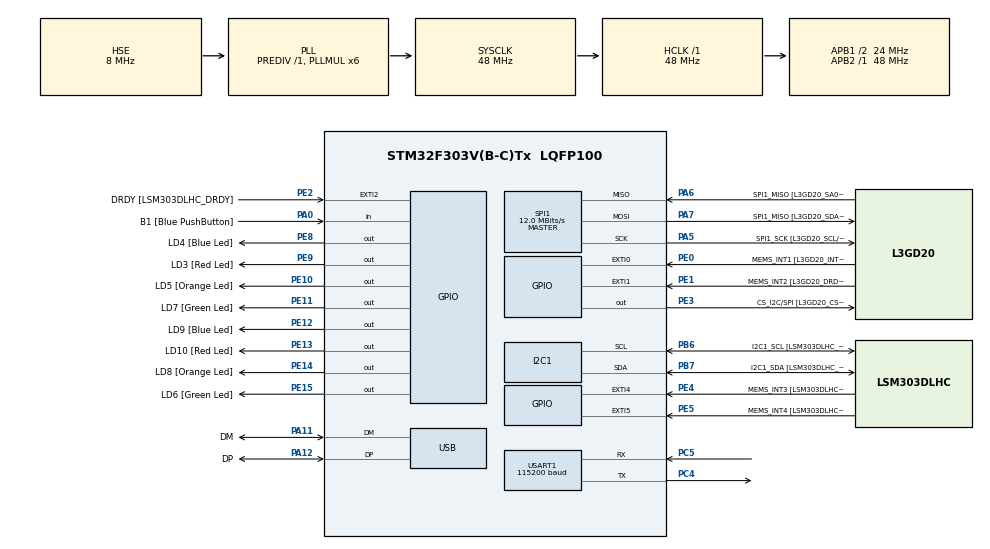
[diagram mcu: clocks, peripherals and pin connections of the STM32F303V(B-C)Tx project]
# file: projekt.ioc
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ADC1.Channel-0\#ChannelRegularConversion=ADC_CHANNEL_TEMPSENSOR
ADC1.NbrOfConversionFlag=1
ADC1.Offset-0\#ChannelRegularConversion=0
ADC1.OffsetNumber-0\#ChannelRegularConversion=ADC_OFFSET_NONE
ADC1.Rank-0\#ChannelRegularConversion=1
ADC1.SamplingTime-0\#ChannelRegularConversion=ADC_SAMPLETIME_601CYCLES_5
ADC1.SamplingTimeOPAMP-0\#ChannelRegularConversion=ADC_SAMPLETIME_19CYCLES_5
ADC1.master=1
I2C1.Timing=0x2000090E
I2C1.Timing-I2C=0x2000090E
Mcu.Family=STM32F3
Mcu.Name=STM32F303V(B-C)Tx
Mcu.Package=LQFP100
NVIC.PriorityGroup=NVIC_PRIORITYGROUP_0
PA0.GPIO_Label=B1 [Blue PushButton]
PA0.Signal=GPIO_Input
PA11.GPIO_Label=DM
PA11.Mode=Device
PA11.Signal=USB_DM
PA12.GPIO_Label=DP
PA12.Mode=Device
PA12.Signal=USB_DP
PA13.GPIO_Label=SWDIO
PA13.Mode=Serial_Wire
PA13.Signal=SYS_JTMS-SWDIO
PA14.GPIO_Label=SWCLK
PA14.Mode=Serial_Wire
PA14.Signal=SYS_JTCK-SWCLK
PA5.GPIO_Label=SPI1_SCK [L3GD20_SCL/SPC]
PA5.Mode=Full_Duplex_Master
PA5.Signal=SPI1_SCK
PA6.GPIO_Label=SPI1_MISO [L3GD20_SA0/SDO]
PA6.Mode=Full_Duplex_Master
PA6.Signal=SPI1_MISO
PA7.GPIO_Label=SPI1_MISO [L3GD20_SDA/SDI/SDO]
PA7.Mode=Full_Duplex_Master
PA7.Signal=SPI1_MOSI
PB3.GPIO_Label=SWO
PB3.Signal=SYS_JTDO-TRACESWO
PB6.GPIO_Label=I2C1_SCL [LSM303DLHC_SCL]
PB6.GPIO_Pu=GPIO_PULLUP
PB6.Mode=I2C
PB6.Signal=I2C1_SCL
PB7.GPIO_Label=I2C1_SDA [LSM303DLHC_SDA]
PB7.GPIO_Pu=GPIO_PULLUP
PB7.Mode=I2C
PB7.Signal=I2C1_SDA
PC14-OSC32_IN.GPIO_Label=OSC32_IN
PC14-OSC32_IN.Signal=RCC_OSC32_IN
PC15-OSC32_OUT.GPIO_Label=OSC32_OUT
PC15-OSC32_OUT.Signal=RCC_OSC32_OUT
PC4.Mode=Asynchronous
PC4.Signal=USART1_TX
PC5.Mode=Asynchronous
PC5.Signal=USART1_RX
PE0.GPIO_Label=MEMS_INT1 [L3GD20_INT1]
PE0.GPIO_ModeDefaultEXTI=GPIO_MODE_EVT_RISING
PE0.Signal=GPXTI0
PE1.GPIO_Label=MEMS_INT2 [L3GD20_DRDY/INT2]
PE1.GPIO_ModeDefaultEXTI=GPIO_MODE_EVT_RISING
PE1.Signal=GPXTI1
PE10.GPIO_Label=LD5 [Orange Led]
PE10.Signal=GPIO_Output
PE11.GPIO_Label=LD7 [Green Led]
PE11.Signal=GPIO_Output
PE12.GPIO_Label=LD9 [Blue Led]
PE12.Signal=GPIO_Output
PE13.GPIO_Label=LD10 [Red Led]
PE13.Signal=GPIO_Output
PE14.GPIO_Label=LD8 [Orange Led]
PE14.Signal=GPIO_Output
PE15.GPIO_Label=LD6 [Green Led]
PE15.Signal=GPIO_Output
PE2.GPIO_Label=DRDY [LSM303DLHC_DRDY]
PE2.GPIO_ModeDefaultEXTI=GPIO_MODE_EVT_RISING
PE2.Signal=GPXTI2
PE3.GPIO_Label=CS_I2C/SPI [L3GD20_CS_I2C/SPI]
PE3.Signal=GPIO_Output
PE4.GPIO_Label=MEMS_INT3 [LSM303DLHC_INT1]
PE4.GPIO_ModeDefaultEXTI=GPIO_MODE_EVT_RISING
PE4.Signal=GPXTI4
PE5.GPIO_Label=MEMS_INT4 [LSM303DLHC_INT2]
PE5.GPIO_ModeDefaultEXTI=GPIO_MODE_EVT_RISING
PE5.Signal=GPXTI5
PE8.GPIO_Label=LD4 [Blue Led]
PE8.Signal=GPIO_Output
PE9.GPIO_Label=LD3 [Red Led]
PE9.Signal=GPIO_Output
PF0-OSC_IN.GPIO_Label=OSC_IN
PF0-OSC_IN.Mode=HSE-External-Clock-Source
PF0-OSC_IN.Signal=RCC_OSC_IN
PF1-OSC_OUT.GPIO_Label=OSC_OUT
PF1-OSC_OUT.Signal=RCC_OSC_OUT
ProjectManager.HeapSize=0x200
ProjectManager.StackSize=0x400
ProjectManager.TargetToolchain=STM32CubeIDE
RCC.AHBFreq_Value=48000000
RCC.APB1CLKDivider=RCC_HCLK_DIV2
RCC.APB1Freq_Value=24000000
RCC.APB1TimFreq_Value=48000000
RCC.APB2Freq_Value=48000000
RCC.APB2TimFreq_Value=48000000
RCC.CortexFreq_Value=48000000
RCC.HCLKFreq_Value=48000000
RCC.HSE_VALUE=8000000
RCC.HSI_VALUE=8000000
RCC.LSE_VALUE=32768
RCC.PLLMUL=RCC_PLL_MUL6
RCC.SYSCLKFreq_VALUE=48000000
RCC.SYSCLKSourceVirtual=RCC_SYSCLKSOURCE_PLLCLK
RCC.USBFreq_Value=48000000
SPI1.BaudRatePrescaler=SPI_BAUDRATEPRESCALER_4
SPI1.BaudRatePrescaler-Full_Duplex_Master=SPI_BAUDRATEPRESCALER_2
SPI1.CalculateBaudRate=12.0 MBits/s
SPI1.CalculateBaudRate-Full_Duplex_Master=24.0 MBits/s
SPI1.Direction=SPI_DIRECTION_2LINES
SPI1.Mode=SPI_MODE_MASTER
SPI1.Mode-Full_Duplex_Master=SPI_MODE_MASTER
SPI1.VirtualType=VM_MASTER
USART1.BaudRate=115200
USART1.VirtualMode-Asynchronous=VM_ASYNC
VP_ADC1_TempSens_Input.Mode=IN-TempSens
board=STM32F3DISCOVERY

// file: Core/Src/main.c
/* USER CODE BEGIN Header */
/**
  ******************************************************************************
  * @file           : main.c
  * @brief          : Main program body
  ******************************************************************************
  * @attention
  *
  * Copyright (c) 2026 STMicroelectronics.
  * All rights reserved.
  *
  * This software is licensed under terms that can be found in the LICENSE file
  * in the root directory of this software component.
  * If no LICENSE file comes with this software, it is provided AS-IS.
  *
  ******************************************************************************
  */
/* USER CODE END Header */
#include "main.h"

/* USER CODE BEGIN Includes */
#include <stdio.h>
#include <string.h>
/* USER CODE END Includes */

/* USER CODE BEGIN PD */
#define TS_CAL1_ADDR ((uint16_t*) ((uint32_t) 0x1FFFF7B8)) // Kalibracija pri 30°C
#define TS_CAL2_ADDR ((uint16_t*) ((uint32_t) 0x1FFFF7C2)) // Kalibracija pri 110°C
/* USER CODE END PD */

ADC_HandleTypeDef hadc1;
I2C_HandleTypeDef hi2c1;
SPI_HandleTypeDef hspi1;
UART_HandleTypeDef huart1;
PCD_HandleTypeDef hpcd_USB_FS;

/* USER CODE BEGIN PV */
uint32_t adc_val;
float temperature;
char msg[100];
char data_buffer[50];
/* USER CODE END PV */

void SystemClock_Config(void);
static void MX_GPIO_Init(void);
static void MX_I2C1_Init(void);
static void MX_SPI1_Init(void);
static void MX_USB_PCD_Init(void);
static void MX_ADC1_Init(void);
static void MX_USART1_UART_Init(void);

int main(void)
{

  /* MCU Configuration--------------------------------------------------------*/
  /* Reset of all peripherals, Initializes the Flash interface and the Systick. */
  HAL_Init();

  /* Configure the system clock */
  SystemClock_Config();

  /* Initialize all configured peripherals */
    MX_GPIO_Init();
    MX_I2C1_Init();
    MX_SPI1_Init();
    MX_USB_PCD_Init();
    MX_ADC1_Init();
    MX_USART1_UART_Init();

/* USER CODE BEGIN 2 */
HAL_ADCEx_Calibration_Start(&hadc1, ADC_SINGLE_ENDED);
HAL_Delay(3000); // Čas, da se ESP32 "pobere" po vklopu

// 1. Reset modula (LD3 rdeča utripne ob resetu)
HAL_GPIO_WritePin(GPIOE, LD3_Pin, GPIO_PIN_SET);
HAL_UART_Transmit(&huart1, (uint8_t*)"AT+RST\r\n", 8, 1000);
HAL_Delay(2000);
HAL_GPIO_WritePin(GPIOE, LD3_Pin, GPIO_PIN_RESET);

// 2. Nastavitev načina Station (klient)
HAL_UART_Transmit(&huart1, (uint8_t*)"AT+CWMODE=1\r\n", 13, 1000);
HAL_Delay(1000);

// 3. Povezava na WiFi (Modra LD9 sveti med poskusom)
HAL_GPIO_WritePin(GPIOE, LD9_Pin, GPIO_PIN_SET);
// Uporabimo strlen, da bo dolžina vedno pravilna
char wifi_cmd[] = "AT+CWJAP=\"nrs\",\"12345678\"\r\n";
HAL_UART_Transmit(&huart1, (uint8_t*)wifi_cmd, strlen(wifi_cmd), 1000);

// POZOR: Povečaj na 20 sekund, da telefon v miru procesira novo napravo
HAL_Delay(20000);

// 4. Vzpostavi TCP povezavo (Oranžna LD5)
HAL_GPIO_WritePin(GPIOE, LD5_Pin, GPIO_PIN_SET);
char tcp_cmd[] = "AT+CIPSTART=\"TCP\",\"10.90.36.14\",5000\r\n";
HAL_UART_Transmit(&huart1, (uint8_t*)tcp_cmd, strlen(tcp_cmd), 1000);
HAL_Delay(3000);

// 5. Pripravljen (Zelena LD4)
HAL_GPIO_WritePin(GPIOE, LD4_Pin, GPIO_PIN_SET);
/* USER CODE END 2 */
/* Infinite loop */
  /* USER CODE BEGIN WHILE */
  while (1)
  {
      // --- 1. BRANJE SENZORJA (ADC RAW) ---
      HAL_ADC_Start(&hadc1);

      uint32_t raw_value = 0;

      // Čakamo na pretvorbo
      if (HAL_ADC_PollForConversion(&hadc1, 100) == HAL_OK) {
          raw_value = HAL_ADC_GetValue(&hadc1);
      } else {
          raw_value = 9999; // Indikator, da ADC sploh ne konča pretvorbe
      }
      HAL_ADC_Stop(&hadc1);

      // --- 2. POŠILJANJE SUROVE VREDNOSTI ---

      HAL_GPIO_WritePin(GPIOE, LD8_Pin, GPIO_PIN_SET);

      // Pripravimo samo surovo številko za Python
      sprintf(data_buffer, "RAW: %lu\n", raw_value);
      sprintf(msg, "AT+CIPSEND=%d\r\n", (int)strlen(data_buffer));

      HAL_UART_Transmit(&huart1, (uint8_t*)msg, strlen(msg), 1000);
      HAL_Delay(200);

      HAL_UART_Transmit(&huart1, (uint8_t*)data_buffer, strlen(data_buffer), 1000);
      HAL_Delay(500);

      HAL_GPIO_WritePin(GPIOE, LD8_Pin, GPIO_PIN_RESET);

      // --- 3. ČAKANJE (10 sekund ali gumb) ---
      for (int i = 0; i < 1000; i++) {
          HAL_Delay(10);
          if (HAL_GPIO_ReadPin(GPIOA, B1_Pin) == GPIO_PIN_SET) {
              while(HAL_GPIO_ReadPin(GPIOA, B1_Pin) == GPIO_PIN_SET) {
                  HAL_Delay(10);
              }
              break;
          }
      }

  }
}

void SystemClock_Config(void)
{
  RCC_OscInitTypeDef RCC_OscInitStruct = {0};
  RCC_ClkInitTypeDef RCC_ClkInitStruct = {0};
  RCC_PeriphCLKInitTypeDef PeriphClkInit = {0};

  RCC_OscInitStruct.OscillatorType = RCC_OSCILLATORTYPE_HSI|RCC_OSCILLATORTYPE_HSE;
  RCC_OscInitStruct.HSEState = RCC_HSE_BYPASS;
  RCC_OscInitStruct.HSEPredivValue = RCC_HSE_PREDIV_DIV1;
  RCC_OscInitStruct.HSIState = RCC_HSI_ON;
  RCC_OscInitStruct.HSICalibrationValue = RCC_HSICALIBRATION_DEFAULT;
  RCC_OscInitStruct.PLL.PLLState = RCC_PLL_ON;
  RCC_OscInitStruct.PLL.PLLSource = RCC_PLLSOURCE_HSE;
  RCC_OscInitStruct.PLL.PLLMUL = RCC_PLL_MUL6;
  if (HAL_RCC_OscConfig(&RCC_OscInitStruct) != HAL_OK)
  {
    Error_Handler();
  }

  RCC_ClkInitStruct.ClockType = RCC_CLOCKTYPE_HCLK|RCC_CLOCKTYPE_SYSCLK
                              |RCC_CLOCKTYPE_PCLK1|RCC_CLOCKTYPE_PCLK2;
  RCC_ClkInitStruct.SYSCLKSource = RCC_SYSCLKSOURCE_PLLCLK;
  RCC_ClkInitStruct.AHBCLKDivider = RCC_SYSCLK_DIV1;
  RCC_ClkInitStruct.APB1CLKDivider = RCC_HCLK_DIV2;
  RCC_ClkInitStruct.APB2CLKDivider = RCC_HCLK_DIV1;

  if (HAL_RCC_ClockConfig(&RCC_ClkInitStruct, FLASH_LATENCY_1) != HAL_OK)
  {
    Error_Handler();
  }
  PeriphClkInit.PeriphClockSelection = RCC_PERIPHCLK_USB|RCC_PERIPHCLK_USART1
                              |RCC_PERIPHCLK_I2C1|RCC_PERIPHCLK_ADC12;
  PeriphClkInit.Usart1ClockSelection = RCC_USART1CLKSOURCE_PCLK2;
  PeriphClkInit.Adc12ClockSelection = RCC_ADC12PLLCLK_DIV1;
  PeriphClkInit.I2c1ClockSelection = RCC_I2C1CLKSOURCE_HSI;
  PeriphClkInit.USBClockSelection = RCC_USBCLKSOURCE_PLL;
  if (HAL_RCCEx_PeriphCLKConfig(&PeriphClkInit) != HAL_OK)
  {
    Error_Handler();
  }
}

static void MX_ADC1_Init(void)
{
  ADC_MultiModeTypeDef multimode = {0};
  ADC_ChannelConfTypeDef sConfig = {0};

  hadc1.Instance = ADC1;
  hadc1.Init.ClockPrescaler = ADC_CLOCK_ASYNC_DIV1;
  hadc1.Init.Resolution = ADC_RESOLUTION_12B;
  hadc1.Init.ScanConvMode = ADC_SCAN_DISABLE;
  hadc1.Init.ContinuousConvMode = DISABLE;
  hadc1.Init.DiscontinuousConvMode = DISABLE;
  hadc1.Init.ExternalTrigConvEdge = ADC_EXTERNALTRIGCONVEDGE_NONE;
  hadc1.Init.ExternalTrigConv = ADC_SOFTWARE_START;
  hadc1.Init.DataAlign = ADC_DATAALIGN_RIGHT;
  hadc1.Init.NbrOfConversion = 1;
  hadc1.Init.DMAContinuousRequests = DISABLE;
  hadc1.Init.EOCSelection = ADC_EOC_SINGLE_CONV;
  hadc1.Init.LowPowerAutoWait = DISABLE;
  hadc1.Init.Overrun = ADC_OVR_DATA_OVERWRITTEN;
  if (HAL_ADC_Init(&hadc1) != HAL_OK)
  {
    Error_Handler();
  }

  multimode.Mode = ADC_MODE_INDEPENDENT;
  if (HAL_ADCEx_MultiModeConfigChannel(&hadc1, &multimode) != HAL_OK)
  {
    Error_Handler();
  }

  sConfig.Channel = ADC_CHANNEL_TEMPSENSOR;
  sConfig.Rank = ADC_REGULAR_RANK_1;
  sConfig.SingleDiff = ADC_SINGLE_ENDED;
  sConfig.SamplingTime = ADC_SAMPLETIME_601CYCLES_5;
  sConfig.OffsetNumber = ADC_OFFSET_NONE;
  sConfig.Offset = 0;
  if (HAL_ADC_ConfigChannel(&hadc1, &sConfig) != HAL_OK)
  {
    Error_Handler();
  }
}

static void MX_I2C1_Init(void)
{
  hi2c1.Instance = I2C1;
  hi2c1.Init.Timing = 0x2000090E;
  hi2c1.Init.OwnAddress1 = 0;
  hi2c1.Init.AddressingMode = I2C_ADDRESSINGMODE_7BIT;
  hi2c1.Init.DualAddressMode = I2C_DUALADDRESS_DISABLE;
  hi2c1.Init.OwnAddress2 = 0;
  hi2c1.Init.OwnAddress2Masks = I2C_OA2_NOMASK;
  hi2c1.Init.GeneralCallMode = I2C_GENERALCALL_DISABLE;
  hi2c1.Init.NoStretchMode = I2C_NOSTRETCH_DISABLE;
  if (HAL_I2C_Init(&hi2c1) != HAL_OK)
  {
    Error_Handler();
  }
  if (HAL_I2CEx_ConfigAnalogFilter(&hi2c1, I2C_ANALOGFILTER_ENABLE) != HAL_OK)
  {
    Error_Handler();
  }
  if (HAL_I2CEx_ConfigDigitalFilter(&hi2c1, 0) != HAL_OK)
  {
    Error_Handler();
  }
}

static void MX_SPI1_Init(void)
{
  hspi1.Instance = SPI1;
  hspi1.Init.Mode = SPI_MODE_MASTER;
  hspi1.Init.Direction = SPI_DIRECTION_2LINES;
  hspi1.Init.DataSize = SPI_DATASIZE_4BIT;
  hspi1.Init.CLKPolarity = SPI_POLARITY_LOW;
  hspi1.Init.CLKPhase = SPI_PHASE_1EDGE;
  hspi1.Init.NSS = SPI_NSS_SOFT;
  hspi1.Init.BaudRatePrescaler = SPI_BAUDRATEPRESCALER_4;
  hspi1.Init.FirstBit = SPI_FIRSTBIT_MSB;
  hspi1.Init.TIMode = SPI_TIMODE_DISABLE;
  hspi1.Init.CRCCalculation = SPI_CRCCALCULATION_DISABLE;
  hspi1.Init.CRCPolynomial = 7;
  hspi1.Init.CRCLength = SPI_CRC_LENGTH_DATASIZE;
  hspi1.Init.NSSPMode = SPI_NSS_PULSE_ENABLE;
  if (HAL_SPI_Init(&hspi1) != HAL_OK)
  {
    Error_Handler();
  }
}

static void MX_USART1_UART_Init(void)
{
  huart1.Instance = USART1;
  huart1.Init.BaudRate = 115200;
  huart1.Init.WordLength = UART_WORDLENGTH_8B;
  huart1.Init.StopBits = UART_STOPBITS_1;
  huart1.Init.Parity = UART_PARITY_NONE;
  huart1.Init.Mode = UART_MODE_TX_RX;
  huart1.Init.HwFlowCtl = UART_HWCONTROL_NONE;
  huart1.Init.OverSampling = UART_OVERSAMPLING_16;
  huart1.Init.OneBitSampling = UART_ONE_BIT_SAMPLE_DISABLE;
  huart1.AdvancedInit.AdvFeatureInit = UART_ADVFEATURE_NO_INIT;
  if (HAL_UART_Init(&huart1) != HAL_OK)
  {
    Error_Handler();
  }
}

static void MX_USB_PCD_Init(void)
{
  hpcd_USB_FS.Instance = USB;
  hpcd_USB_FS.Init.dev_endpoints = 8;
  hpcd_USB_FS.Init.speed = PCD_SPEED_FULL;
  hpcd_USB_FS.Init.phy_itface = PCD_PHY_EMBEDDED;
  hpcd_USB_FS.Init.low_power_enable = DISABLE;
  hpcd_USB_FS.Init.battery_charging_enable = DISABLE;
  if (HAL_PCD_Init(&hpcd_USB_FS) != HAL_OK)
  {
    Error_Handler();
  }
}

static void MX_GPIO_Init(void)
{
  GPIO_InitTypeDef GPIO_InitStruct = {0};

  __HAL_RCC_GPIOE_CLK_ENABLE();
  __HAL_RCC_GPIOC_CLK_ENABLE();
  __HAL_RCC_GPIOF_CLK_ENABLE();
  __HAL_RCC_GPIOA_CLK_ENABLE();
  __HAL_RCC_GPIOB_CLK_ENABLE();

  HAL_GPIO_WritePin(GPIOE, CS_I2C_SPI_Pin|LD4_Pin|LD3_Pin|LD5_Pin
                          |LD7_Pin|LD9_Pin|LD10_Pin|LD8_Pin
                          |LD6_Pin, GPIO_PIN_RESET);

  GPIO_InitStruct.Pin = DRDY_Pin|MEMS_INT3_Pin|MEMS_INT4_Pin|MEMS_INT1_Pin
                          |MEMS_INT2_Pin;
  GPIO_InitStruct.Mode = GPIO_MODE_EVT_RISING;
  GPIO_InitStruct.Pull = GPIO_NOPULL;
  HAL_GPIO_Init(GPIOE, &GPIO_InitStruct);

  GPIO_InitStruct.Pin = CS_I2C_SPI_Pin|LD4_Pin|LD3_Pin|LD5_Pin
                          |LD7_Pin|LD9_Pin|LD10_Pin|LD8_Pin
                          |LD6_Pin;
  GPIO_InitStruct.Mode = GPIO_MODE_OUTPUT_PP;
  GPIO_InitStruct.Pull = GPIO_NOPULL;
  GPIO_InitStruct.Speed = GPIO_SPEED_FREQ_LOW;
  HAL_GPIO_Init(GPIOE, &GPIO_InitStruct);

  GPIO_InitStruct.Pin = B1_Pin;
  GPIO_InitStruct.Mode = GPIO_MODE_INPUT;
  GPIO_InitStruct.Pull = GPIO_NOPULL;
  HAL_GPIO_Init(B1_GPIO_Port, &GPIO_InitStruct);
}

void Error_Handler(void)
{
  __disable_irq();
  while (1) {}
}
